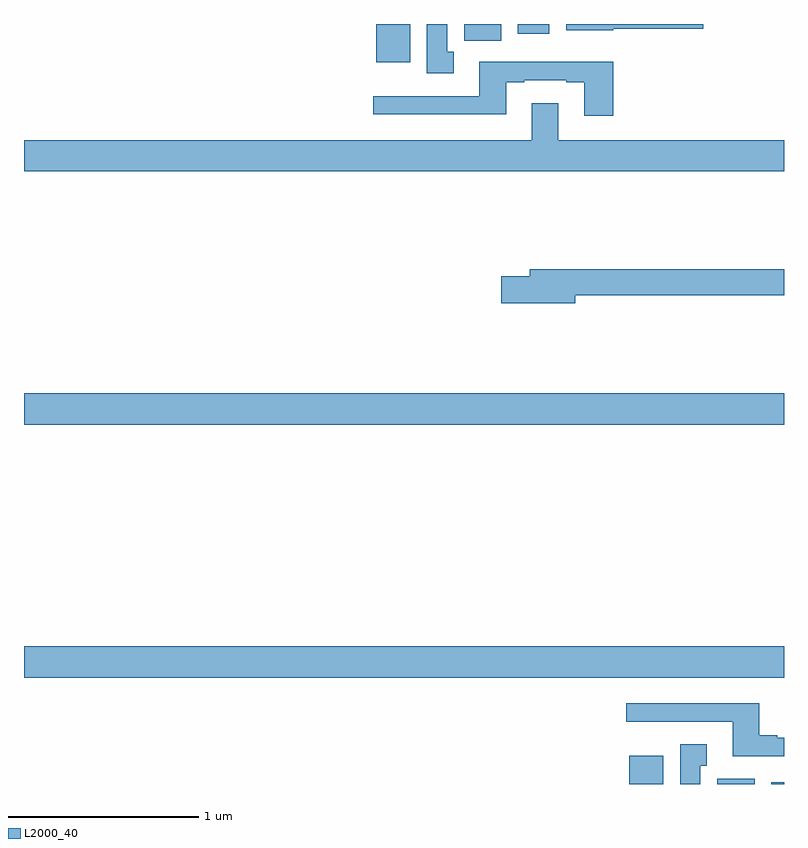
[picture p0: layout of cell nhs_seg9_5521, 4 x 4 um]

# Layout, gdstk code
import gdstk
lib = gdstk.Library(unit=1e-6, precision=1e-09)
def R(c, l, rs):  # rectangles x0, y0, x1, y1
    for r in rs: c.add(gdstk.rectangle(r[:2], r[2:], *l))
def P(c, l, *ps):  # polygons
    for p in ps: c.add(gdstk.Polygon(p, *l))
L2000_40 = (2000, 40)

nhs_seg9_5521 = lib.new_cell('nhs_seg9_5521')
R(nhs_seg9_5521, L2000_40, [(434.186,1222.5,434.365,1222.648), (434.648,1222.5,434.845,1222.528), (434.933,1222.5,435,1222.51), (431,1223.06,435,1223.224), (431,1224.392,435,1224.556), (432.854,1226.3,433.033,1226.5), (433.317,1226.412,433.513,1226.5), (433.598,1226.448,433.765,1226.5)])
P(nhs_seg9_5521, L2000_40, [(434.1,1226.474),(434.575,1226.474),(434.575,1226.5),(433.853,1226.5),(433.853,1226.468),(434.1,1226.468)],
  [(433.261,1226.353),(433.228,1226.353),(433.228,1226.5),(433.121,1226.5),(433.121,1226.241),(433.261,1226.241)],
  [(434.102,1226.302),(433.397,1226.302),(433.397,1226.121),(432.837,1226.121),(432.837,1226.024),(433.537,1226.024),(433.537,1226.193),(433.633,1226.193),(433.633,1226.205),(433.853,1226.205),(433.853,1226.193),(433.949,1226.193),(433.949,1226.016),(434.102,1226.016)],
  [(435,1225.888),(433.813,1225.888),(433.813,1226.083),(433.673,1226.083),(433.673,1225.888),(431,1225.888),(431,1225.724),(435,1225.724)],
  [(433.9,1225.072),(435,1225.072),(435,1225.208),(433.661,1225.208),(433.661,1225.172),(433.512,1225.172),(433.512,1225.03),(433.9,1225.03)],
  [(435,1222.743),(434.965,1222.743),(434.965,1222.756),(434.869,1222.756),(434.869,1222.924),(434.169,1222.924),(434.169,1222.827),(434.729,1222.827),(434.729,1222.646),(435,1222.646)],
  [(434.56,1222.595),(434.593,1222.595),(434.593,1222.708),(434.453,1222.708),(434.453,1222.5),(434.56,1222.5)])

lib.write_gds('nhs_seg9_5521.gds')
